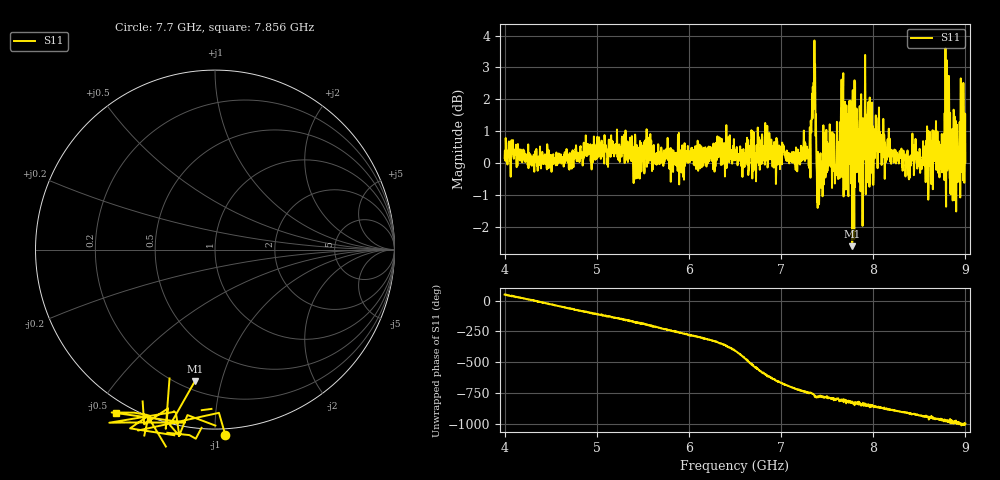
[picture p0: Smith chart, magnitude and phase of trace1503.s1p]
! Created with skrf 1.8.0 (http://scikit-rf.org).
# Hz S RI R 50.0
!freq ReS11 ImS11
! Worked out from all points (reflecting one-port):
!   1601 points, 4 GHz to 9 GHz, reference 50 ohm
!   lowest |S11| = -2.6 dB at 7.772 GHz (marker M1), VSWR 6.74, Z = 12.7 - j41.3 ohm
!   phase of S11 starts at 48 deg and turns -1045 deg over the sweep
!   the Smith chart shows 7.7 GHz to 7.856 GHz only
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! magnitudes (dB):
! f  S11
! 4 GHz  0.2
! 4.625 GHz  0.1
! 5.25 GHz  0.0
! 5.875 GHz  0.1
! 6.5 GHz  0.4
! 7.125 GHz  0.2
! 7.294 GHz  0.2
! 7.347 GHz  2.0
! 7.362 GHz  3.8
! 7.397 GHz  -1.4
! 7.412 GHz  -1.3
! 7.512 GHz  0.3
! 7.609 GHz  0.6
! 7.669 GHz  1.6
! 7.703 GHz  -0.8
! 7.75 GHz  0.5
! 7.772 GHz  -2.6
! 7.928 GHz  1.0
! 7.981 GHz  0.1
! 8.053 GHz  0.9
! 8.375 GHz  0.0
! 8.675 GHz  0.1
! 8.738 GHz  -0.1
! 8.8 GHz  0.8
! 8.856 GHz  -0.4
! 8.922 GHz  -0.1
! 8.959 GHz  2.4
! 9 GHz  0.0
